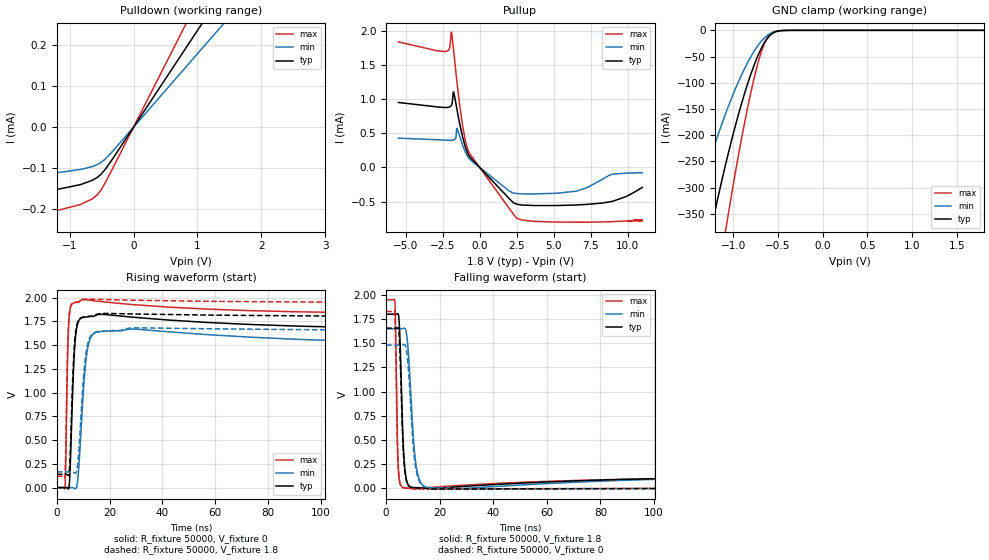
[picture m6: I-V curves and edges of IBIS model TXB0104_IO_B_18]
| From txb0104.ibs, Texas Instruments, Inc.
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[Model]   TXB0104_IO_B_18
Model_type  I/O
Vinl=0.5775
Vinh=1.2675
Enable   Active-High
Vref =   0
Rref =   1e6
Cref =   15p
Vmeas =   0.9
| variable   typ   min   max
C_comp   14.62pF   12.52pF   15.88pF
| C_pullup   14.51pF   12.48pF   15.73pF
| C_pulldown   18.71pF   12.48pF   40.20pF
| C_tri-state   14.62pF   12.52pF   15.88pF
[Temperature Range]   40   100   -40
| Ambient temperature   25   85   -40
[Voltage range]   1.8   1.65   1.95
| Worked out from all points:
|   slope of the pulldown table from 0 to 0.27 V, typ, clamps not added: 4.25 kohm
|   slope of the pullup table from 0 to 0.27 V, typ, clamps not added: 4.38 kohm
|   GND clamp passes 1 mA (typ) near -0.48 V on its own axis
|   rising waveform, R_fixture 50000, V_fixture 0: 20-80 % time 1.24ns typ, 2.01ns min, 728ps max; typ from 0 V to 1.66 V
|   falling waveform, R_fixture 50000, V_fixture 1.8: 20-80 % time 1.12ns typ, 1.95ns min, 645ps max; typ from 1.8 V to 0.134 V
|   rising waveform, R_fixture 50000, V_fixture 1.8: 20-80 % time 1.38ns typ, 2.26ns min, 791ps max; typ from 0.141 V to 1.8 V
|   falling waveform, R_fixture 50000, V_fixture 0: 20-80 % time 1.25ns typ, 2.19ns min, 702ps max; typ from 1.66 V to 0 V
[GND Clamp]
| TXB0104_IO_B_18
|   Voltage   I(typ)   I(min)   I(max)
-5.5V     -5.138A    -3.9A      -6.438A
-1.5V     -595.4mA   -384.3mA   -865.4mA
-1.45V    -550.4mA   -353.7mA   -803.4mA
-1.24V    -372.4mA   -234.8mA   -552.4mA
-1.08V    -251.6mA   -156.2mA   -375.7mA
-1.06V    -237.5mA   -147.2mA   -354.8mA
-920mV    -146.9mA   -89.58mA   -217.5mA
-770mV    -67.75mA   -40.47mA   -93.41mA
-670mV    -28.95mA   -17.51mA   -33.16mA
-575mV    -7.484mA   -5.152mA   -5.709mA
-375mV    -60.21uA   -78.38uA   -9.081uA
1.8V      497pA      3.5nA      55.81pA
[Pulldown]
| TXB0104_IO_B_18
|   Voltage   I(typ)   I(min)   I(max)
-5.5V     -199uA     -145uA     -268uA
-4.31V    -191uA     -139uA     -256uA
-3.315V   -180uA     -132uA     -244uA
-1.73V    -161.7uA   -118.1uA   -218uA
-1.205V   -151.8uA   -111uA     -203.3uA
-830mV    -139.9uA   -103uA     -188.2uA
-645mV    -129.3uA   -95.98uA   -174.4uA
-520mV    -116.2uA   -87.09uA   -155.5uA
-440mV    -102.3uA   -77.27uA   -134.6uA
0V        0A         0A         0A
2.875V    676.5uA    513.7uA    882uA
11V       2.568mA    1.86mA     3.363mA
[Pullup]
| TXB0104_IO_B_18
|   Voltage   I(typ)   I(min)   I(max)
-5.5V     951.6uA    429.1uA    1.839mA
-2.285V   876.8uA    399.9uA    1.698mA
-2.04V    886uA      397.9uA    1.743mA
-1.905V   909.9uA    397.7uA    1.983mA
-1.755V   1.106mA    401.4uA    1.7mA
-1.53V    843.2uA    572.2uA    1.238mA
-1.15V    442.2uA    323.6uA    604.1uA
-815mV    211.4uA    161uA      267.6uA
2.515V    -539.4uA   -382.5uA   -745.1uA
6.52V     -550uA     -348uA     -802uA
8.315V    -521uA     -172uA     -798uA
11V       -292uA     -77uA      -780uA
[Ramp]
| TXB0104_IO_B_18
| variable   typ   min   max
dV/dt_r   1.10/1.48E-09   1.01/2.42E-09   1.20/8.47E-10
dV/dt_f   1.09/1.29E-09   0.99/2.28E-09   1.18/7.25E-10
R_load = 50000
[Rising Waveform]
| TXB0104_IO_B_18
R_fixture =   50000
C_fixture =   0
L_fixture =   0
V_fixture =   0
V_fixture_min = 0
V_fixture_max = 0
|   Time   V(typ)   V(min)   V(max)
0s        90.23nV    1.068uV    24.06nV
3.07ns    140.6uV    -9.532uV   3.9mV
4.06ns    -7.539mV   -89.85uV   1.377V
4.595ns   5.673mV    235.8uV    1.771V
6.83ns    1.513V     -11.29mV   1.948V
7.97ns    1.736V     101.4mV    1.954V
9.405ns   1.789V     726mV      1.977V
11.78ns   1.801V     1.485V     1.976V
16.06ns   1.825V     1.643V     1.962V
220ns     1.66V      1.494V     1.83V
[Falling Waveform]
| TXB0104_IO_B_18
R_fixture =   50000
C_fixture =   0
L_fixture =   0
V_fixture =   1.8
V_fixture_min = 1.65
V_fixture_max = 1.95
|   Time   V(typ)   V(min)   V(max)
0s        1.8V       1.65V      1.95V
3.23ns    1.8V       1.65V      1.936V
3.54ns    1.799V     1.65V      1.638V
4.2ns     1.804V     1.65V      506.7mV
4.67ns    1.781V     1.65V      163.8mV
6.495ns   393.3mV    1.654V     5.994mV
7.99ns    49.35mV    1.503V     1.37mV
11.13ns   6.723mV    245.2mV    -4.217mV
15.08ns   -818.8uV   9.784mV    4.482mV
220ns     134.3mV    148.5mV    117.2mV
[Rising Waveform]
| TXB0104_IO_B_18
R_fixture =   50000
C_fixture =   0
L_fixture =   0
V_fixture =   1.8
V_fixture_min = 1.65
V_fixture_max = 1.95
|   Time   V(typ)   V(min)   V(max)
0s        140.8mV    165.6mV    119.2mV
3.065ns   140.9mV    165.6mV    121.1mV
4.02ns    134.2mV    165.5mV    1.411V
4.58ns    143.3mV    165.8mV    1.793V
6.755ns   1.542V     154.8mV    1.95V
7.935ns   1.747V     258.2mV    1.955V
9.44ns    1.792V     903.6mV    1.982V
11.66ns   1.803V     1.512V     1.986V
15.74ns   1.831V     1.645V     1.983V
220ns     1.801V     1.652V     1.95V
[Falling Waveform]
| TXB0104_IO_B_18
R_fixture =   50000
C_fixture =   0
L_fixture =   0
V_fixture =   0
V_fixture_min = 0
V_fixture_max = 0
|   Time   V(typ)   V(min)   V(max)
0s        1.655V     1.48V      1.828V
3.225ns   1.655V     1.48V      1.817V
3.525ns   1.655V     1.48V      1.543V
4.17ns    1.659V     1.48V      478.2mV
4.66ns    1.639V     1.48V      147.8mV
6.435ns   362.9mV    1.483V     5.171mV
7.915ns   46.31mV    1.357V     614.7uV
10.96ns   3.788mV    224.7mV    -8.88mV
14.84ns   -2.465mV   7.639mV    -8.628mV
220ns     -476uV     -1.107mV   -163.8uV
